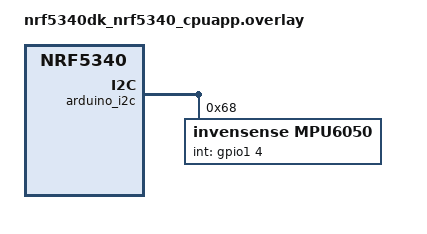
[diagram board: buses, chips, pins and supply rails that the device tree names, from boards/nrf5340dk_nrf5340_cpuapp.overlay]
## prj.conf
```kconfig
# Basic logging
CONFIG_PRINTK=y
CONFIG_LOG=y
CONFIG_LOG_MODE_IMMEDIATE=y
CONFIG_LOG_DEFAULT_LEVEL=3

# Activate C++
CONFIG_CPP=y
CONFIG_STD_CPP2B=y
CONFIG_GLIBCXX_LIBCPP=y

# Increase main stack size
CONFIG_MAIN_STACK_SIZE=2048

CONFIG_GPIO=y

# Enable I2C, Sensor API, and MPU6050 driver
CONFIG_I2C=y
CONFIG_SENSOR=y
CONFIG_MPU6050=y

# Enable float printing for sensor values
CONFIG_CBPRINTF_FP_SUPPORT=y
```

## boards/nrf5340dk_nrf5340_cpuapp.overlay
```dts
&arduino_i2c {
	status = "okay";

	mpu6050: mpu6050@68 {
		compatible = "invensense,mpu6050";
		reg = <0x68>;
		int-gpios = <&gpio1 4 (GPIO_ACTIVE_HIGH | GPIO_PULL_DOWN)>;
	};
};
```

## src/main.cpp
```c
#include <zephyr/kernel.h>
#include <zephyr/drivers/i2c.h>
#include <zephyr/drivers/gpio.h>

#define MPU_NODE DT_NODELABEL(mpu6050)

/* MPU6050 registers */
#define REG_ACCEL_CONFIG 0x1C
#define REG_MOT_THR 0x1F
#define REG_MOT_DUR 0x20
#define REG_INT_PIN_CFG 0x37
#define REG_INT_ENABLE 0x38
#define REG_INT_STATUS 0x3A
#define REG_PWR_MGMT_1 0x6B
#define REG_WHO_AM_I 0x75

#define INT_MOT_BIT BIT(6)

static const struct i2c_dt_spec mpu = I2C_DT_SPEC_GET(MPU_NODE);
static const struct gpio_dt_spec mpu_int = GPIO_DT_SPEC_GET(MPU_NODE, int_gpios);

static struct gpio_callback int_cb;
static struct k_work jolt_work;

/* your callback */
static void on_jolt(void)
{
    printk("jolt! t=%u ms\n", k_uptime_get_32());
}

/* runs in the system workqueue, so I2C is allowed here */
#define JOLT_DEBOUNCE_MS 2000

static void jolt_work_handler(struct k_work *work)
{
    static int64_t last_jolt = -JOLT_DEBOUNCE_MS;
    uint8_t status;

    /* always read INT_STATUS so the latched pin gets released */
    if (i2c_reg_read_byte_dt(&mpu, REG_INT_STATUS, &status) || !(status & INT_MOT_BIT)) {
        return;
    }

    int64_t now = k_uptime_get();

    if (now - last_jolt < JOLT_DEBOUNCE_MS) {
        return;
    }

    last_jolt = now;
    on_jolt();
}

/* ISR: no I2C here, just hand off */
static void int_isr(const struct device *dev, struct gpio_callback *cb, uint32_t pins)
{
    k_work_submit(&jolt_work);
}

static int mpu_init(void)
{
    uint8_t id;
    int ret;

    ret = i2c_reg_read_byte_dt(&mpu, REG_WHO_AM_I, &id);
    if (ret || id != 0x68) {
        printk("MPU6050 not found (ret=%d id=0x%02x)\n", ret, id);
        return -ENODEV;
    }

    const uint8_t cfg[][2] = {
        {REG_PWR_MGMT_1, 0x00},   /* wake up */
        {REG_ACCEL_CONFIG, 0x01}, /* +-2g, high-pass 5 Hz (motion detect uses HPF data) */
        {REG_MOT_THR, 20},        /* threshold, tune this */
        {REG_MOT_DUR, 1},         /* 1 ms above threshold */
        {REG_INT_PIN_CFG, 0x20},  /* active high, push-pull, latched until INT_STATUS read */
        {REG_INT_ENABLE, 0x40},   /* motion interrupt only */
    };

    for (size_t i = 0; i < ARRAY_SIZE(cfg); i++) {
        ret = i2c_reg_write_byte_dt(&mpu, cfg[i][0], cfg[i][1]);
        if (ret) {
            printk("write 0x%02x failed: %d\n", cfg[i][0], ret);
            return ret;
        }
    }

    /* clear anything latched during setup */
    i2c_reg_read_byte_dt(&mpu, REG_INT_STATUS, &id);
    return 0;
}

int main(void)
{
    if (!i2c_is_ready_dt(&mpu) || !gpio_is_ready_dt(&mpu_int)) {
        printk("I2C or GPIO not ready\n");
        return 0;
    }

    if (mpu_init()) {
        return 0;
    }

    k_work_init(&jolt_work, jolt_work_handler);

    gpio_pin_configure_dt(&mpu_int, GPIO_INPUT);
    gpio_init_callback(&int_cb, int_isr, BIT(mpu_int.pin));
    gpio_add_callback(mpu_int.port, &int_cb);
    gpio_pin_interrupt_configure_dt(&mpu_int, GPIO_INT_EDGE_TO_ACTIVE);

    printk("MPU6050 ready, waiting for jolts\n");
    k_sleep(K_FOREVER);
    return 0;
}
```
